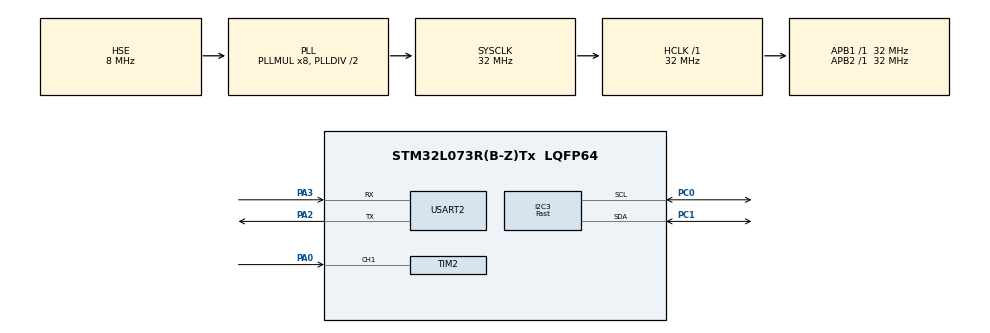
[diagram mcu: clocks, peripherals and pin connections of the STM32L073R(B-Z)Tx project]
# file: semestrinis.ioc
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I2C3.I2C_Speed_Mode=I2C_Fast
I2C3.Timing=0x00300F38
Mcu.Family=STM32L0
Mcu.Name=STM32L073R(B-Z)Tx
Mcu.Package=LQFP64
NVIC.TIM2_IRQn=true\:0\:0\:false\:false\:true\:true\:true\:true
PA0.Signal=S_TIM2_CH1
PA2.Mode=Asynchronous
PA2.Signal=USART2_TX
PA3.Mode=Asynchronous
PA3.Signal=USART2_RX
PC0.Mode=I2C
PC0.Signal=I2C3_SCL
PC1.Mode=I2C
PC1.Signal=I2C3_SDA
PH0-OSC_IN.Mode=HSE-External-Oscillator
PH0-OSC_IN.Signal=RCC_OSC_IN
PH1-OSC_OUT.Mode=HSE-External-Oscillator
PH1-OSC_OUT.Signal=RCC_OSC_OUT
ProjectManager.HeapSize=0x200
ProjectManager.StackSize=0x400
ProjectManager.TargetToolchain=MDK-ARM V5.32
RCC.AHBFreq_Value=32000000
RCC.APB1Freq_Value=32000000
RCC.APB1TimFreq_Value=32000000
RCC.APB2Freq_Value=32000000
RCC.APB2TimFreq_Value=32000000
RCC.HCLKFreq_Value=32000000
RCC.HSE_VALUE=8000000
RCC.HSI16_VALUE=16000000
RCC.HSI48_VALUE=48000000
RCC.HSI_VALUE=16000000
RCC.LSE_VALUE=32768
RCC.MSI_VALUE=2097000
RCC.PLLMUL=RCC_PLLMUL_8
RCC.PLLSourceVirtual=RCC_PLLSOURCE_HSE
RCC.SYSCLKFreq_VALUE=32000000
RCC.SYSCLKSource=RCC_SYSCLKSOURCE_PLLCLK
RCC.VCOOutputFreq_Value=64000000
SH.S_TIM2_CH1.0=TIM2_CH1,Input_Capture1_from_TI1
TIM2.AutoReloadPreload=TIM_AUTORELOAD_PRELOAD_ENABLE
TIM2.Channel-Input_Capture1_from_TI1=TIM_CHANNEL_1
USART2.VirtualMode-Asynchronous=VM_ASYNC
VP_TIM2_VS_ClockSourceINT.Mode=Internal
board=custom

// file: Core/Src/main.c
/* USER CODE BEGIN Header */
/**
  ******************************************************************************
  * @file           : main.c
  * @brief          : Main program body
  ******************************************************************************
  * @attention
  *
  * Copyright (c) 2024 STMicroelectronics.
  * All rights reserved.
  *
  * This software is licensed under terms that can be found in the LICENSE file
  * in the root directory of this software component.
  * If no LICENSE file comes with this software, it is provided AS-IS.
  *
  ******************************************************************************
  */
/* USER CODE END Header */
#include "main.h"

/* USER CODE BEGIN Includes */
#include <stdio.h>
#include <ssd1306.h>
#include <fonts.h>
#include "mano.h"

/* USER CODE END Includes */

/* USER CODE BEGIN PTD */
#define IDLE   0
#define DONE   1
#define F_CLK  15400000UL

/* USER CODE END PTD */

/* USER CODE BEGIN PD */
volatile uint8_t state = IDLE;
volatile uint8_t message[35] = {'\0'};
volatile uint32_t T1 = 0;
volatile uint32_t T2 = 0;
volatile uint32_t ticks = 0;
volatile uint16_t TIM2_OVC = 0;
float frequency = 0;
int cnt=0;

/* USER CODE END PD */

I2C_HandleTypeDef hi2c3;

TIM_HandleTypeDef htim2;

UART_HandleTypeDef huart2;

void SystemClock_Config(void);
static void MX_GPIO_Init(void);
static void MX_TIM2_Init(void);
static void MX_USART2_UART_Init(void);
static void MX_I2C3_Init(void);

/* USER CODE BEGIN 0 */
uint8_t TxBuffer[30];

void DisplayInfo()
{
	#ifndef DISABLE_DISPLAY
	static char string_display[30];
	ssd1306_SetCursor(0, 0);
	sprintf(string_display,"F=%.1f Hz    ", frequency);
	ssd1306_WriteString(string_display,Font_11x18, White);
  ssd1306_UpdateScreen(&hi2c3);
	#endif
}

void Uart()
{
	sprintf((char*) TxBuffer, "F=%.1f Hz    ", frequency);
	HAL_UART_Transmit(&huart2, TxBuffer, sizeof(TxBuffer), 100);
}

/* USER CODE END 0 */

int main(void)
{

  /* MCU Configuration--------------------------------------------------------*/

  /* Reset of all peripherals, Initializes the Flash interface and the Systick. */
  HAL_Init();

  /* Configure the system clock */
  SystemClock_Config();

  /* Initialize all configured peripherals */
  MX_GPIO_Init();
  MX_TIM2_Init();
  MX_USART2_UART_Init();
  MX_I2C3_Init();
  /* USER CODE BEGIN 2 */
	#ifndef DISABLE_DISPLAY
	ssd1306_Init(&hi2c3);
	ssd1306_SetCursor(0,0);
  ssd1306_WriteString("Starting ...",Font_11x18, White);
  ssd1306_SetCursor(0, 12);
  ssd1306_UpdateScreen(&hi2c3);
	#endif

	HAL_TIM_Base_Start_IT(&htim2);
  HAL_TIM_IC_Start_IT(&htim2, TIM_CHANNEL_1);

	cnt=0;
  /* USER CODE END 2 */

  /* Infinite loop */
  while (1)
  {

    /* USER CODE BEGIN 3 */
		if(cnt==1000)
		{
			DisplayInfo();
			Uart();
			cnt=0;
		}
  }
  /* USER CODE END 3 */
}

void SystemClock_Config(void)
{
  RCC_OscInitTypeDef RCC_OscInitStruct = {0};
  RCC_ClkInitTypeDef RCC_ClkInitStruct = {0};
  RCC_PeriphCLKInitTypeDef PeriphClkInit = {0};

  /** Configure the main internal regulator output voltage
  */
  __HAL_PWR_VOLTAGESCALING_CONFIG(PWR_REGULATOR_VOLTAGE_SCALE1);

  /** Initializes the RCC Oscillators according to the specified parameters
  * in the RCC_OscInitTypeDef structure.
  */
  RCC_OscInitStruct.OscillatorType = RCC_OSCILLATORTYPE_HSE;
  RCC_OscInitStruct.HSEState = RCC_HSE_ON;
  RCC_OscInitStruct.PLL.PLLState = RCC_PLL_ON;
  RCC_OscInitStruct.PLL.PLLSource = RCC_PLLSOURCE_HSE;
  RCC_OscInitStruct.PLL.PLLMUL = RCC_PLLMUL_8;
  RCC_OscInitStruct.PLL.PLLDIV = RCC_PLLDIV_2;
  if (HAL_RCC_OscConfig(&RCC_OscInitStruct) != HAL_OK)
  {
    Error_Handler();
  }

  /** Initializes the CPU, AHB and APB buses clocks
  */
  RCC_ClkInitStruct.ClockType = RCC_CLOCKTYPE_HCLK|RCC_CLOCKTYPE_SYSCLK
                              |RCC_CLOCKTYPE_PCLK1|RCC_CLOCKTYPE_PCLK2;
  RCC_ClkInitStruct.SYSCLKSource = RCC_SYSCLKSOURCE_PLLCLK;
  RCC_ClkInitStruct.AHBCLKDivider = RCC_SYSCLK_DIV1;
  RCC_ClkInitStruct.APB1CLKDivider = RCC_HCLK_DIV1;
  RCC_ClkInitStruct.APB2CLKDivider = RCC_HCLK_DIV1;

  if (HAL_RCC_ClockConfig(&RCC_ClkInitStruct, FLASH_LATENCY_1) != HAL_OK)
  {
    Error_Handler();
  }
  PeriphClkInit.PeriphClockSelection = RCC_PERIPHCLK_USART2|RCC_PERIPHCLK_I2C3;
  PeriphClkInit.Usart2ClockSelection = RCC_USART2CLKSOURCE_PCLK1;
  PeriphClkInit.I2c3ClockSelection = RCC_I2C3CLKSOURCE_PCLK1;
  if (HAL_RCCEx_PeriphCLKConfig(&PeriphClkInit) != HAL_OK)
  {
    Error_Handler();
  }
}

static void MX_I2C3_Init(void)
{

  hi2c3.Instance = I2C3;
  hi2c3.Init.Timing = 0x00300F38;
  hi2c3.Init.OwnAddress1 = 0;
  hi2c3.Init.AddressingMode = I2C_ADDRESSINGMODE_7BIT;
  hi2c3.Init.DualAddressMode = I2C_DUALADDRESS_DISABLE;
  hi2c3.Init.OwnAddress2 = 0;
  hi2c3.Init.OwnAddress2Masks = I2C_OA2_NOMASK;
  hi2c3.Init.GeneralCallMode = I2C_GENERALCALL_DISABLE;
  hi2c3.Init.NoStretchMode = I2C_NOSTRETCH_DISABLE;
  if (HAL_I2C_Init(&hi2c3) != HAL_OK)
  {
    Error_Handler();
  }

  /** Configure Analogue filter
  */
  if (HAL_I2CEx_ConfigAnalogFilter(&hi2c3, I2C_ANALOGFILTER_ENABLE) != HAL_OK)
  {
    Error_Handler();
  }

  /** Configure Digital filter
  */
  if (HAL_I2CEx_ConfigDigitalFilter(&hi2c3, 0) != HAL_OK)
  {
    Error_Handler();
  }

}

static void MX_TIM2_Init(void)
{

  TIM_ClockConfigTypeDef sClockSourceConfig = {0};
  TIM_MasterConfigTypeDef sMasterConfig = {0};
  TIM_IC_InitTypeDef sConfigIC = {0};

  htim2.Instance = TIM2;
  htim2.Init.Prescaler = 0;
  htim2.Init.CounterMode = TIM_COUNTERMODE_UP;
  htim2.Init.Period = 65535;
  htim2.Init.ClockDivision = TIM_CLOCKDIVISION_DIV1;
  htim2.Init.AutoReloadPreload = TIM_AUTORELOAD_PRELOAD_ENABLE;
  if (HAL_TIM_Base_Init(&htim2) != HAL_OK)
  {
    Error_Handler();
  }
  sClockSourceConfig.ClockSource = TIM_CLOCKSOURCE_INTERNAL;
  if (HAL_TIM_ConfigClockSource(&htim2, &sClockSourceConfig) != HAL_OK)
  {
    Error_Handler();
  }
  if (HAL_TIM_IC_Init(&htim2) != HAL_OK)
  {
    Error_Handler();
  }
  sMasterConfig.MasterOutputTrigger = TIM_TRGO_RESET;
  sMasterConfig.MasterSlaveMode = TIM_MASTERSLAVEMODE_DISABLE;
  if (HAL_TIMEx_MasterConfigSynchronization(&htim2, &sMasterConfig) != HAL_OK)
  {
    Error_Handler();
  }
  sConfigIC.ICPolarity = TIM_INPUTCHANNELPOLARITY_RISING;
  sConfigIC.ICSelection = TIM_ICSELECTION_DIRECTTI;
  sConfigIC.ICPrescaler = TIM_ICPSC_DIV1;
  sConfigIC.ICFilter = 0;
  if (HAL_TIM_IC_ConfigChannel(&htim2, &sConfigIC, TIM_CHANNEL_1) != HAL_OK)
  {
    Error_Handler();
  }

}

static void MX_USART2_UART_Init(void)
{

  huart2.Instance = USART2;
  huart2.Init.BaudRate = 115200;
  huart2.Init.WordLength = UART_WORDLENGTH_8B;
  huart2.Init.StopBits = UART_STOPBITS_1;
  huart2.Init.Parity = UART_PARITY_NONE;
  huart2.Init.Mode = UART_MODE_TX_RX;
  huart2.Init.HwFlowCtl = UART_HWCONTROL_NONE;
  huart2.Init.OverSampling = UART_OVERSAMPLING_16;
  huart2.Init.OneBitSampling = UART_ONE_BIT_SAMPLE_DISABLE;
  huart2.AdvancedInit.AdvFeatureInit = UART_ADVFEATURE_NO_INIT;
  if (HAL_UART_Init(&huart2) != HAL_OK)
  {
    Error_Handler();
  }

}

static void MX_GPIO_Init(void)
{

  /* GPIO Ports Clock Enable */
  __HAL_RCC_GPIOH_CLK_ENABLE();
  __HAL_RCC_GPIOC_CLK_ENABLE();
  __HAL_RCC_GPIOA_CLK_ENABLE();

}

/* USER CODE BEGIN 4 */
void HAL_TIM_IC_CaptureCallback(TIM_HandleTypeDef* htim)
{
    if(state == IDLE)
    {
        T1 = TIM2->CCR1;
        TIM2_OVC = 0;
        state = DONE;
    }
    else if(state == DONE)
    {

        T2 = TIM2->CCR1;
        if(T2>T1){
        ticks = (T2 + (TIM2_OVC * 65536)) - T1;
        frequency = ((F_CLK/ticks));
				frequency = frequency/1;
        }
        state = IDLE;
    }
}

void HAL_TIM_PeriodElapsedCallback(TIM_HandleTypeDef* htim)
{
    TIM2_OVC++;
}

/* USER CODE END 4 */

void Error_Handler(void)
{
  __disable_irq();
  while (1)
  {
  }
}
